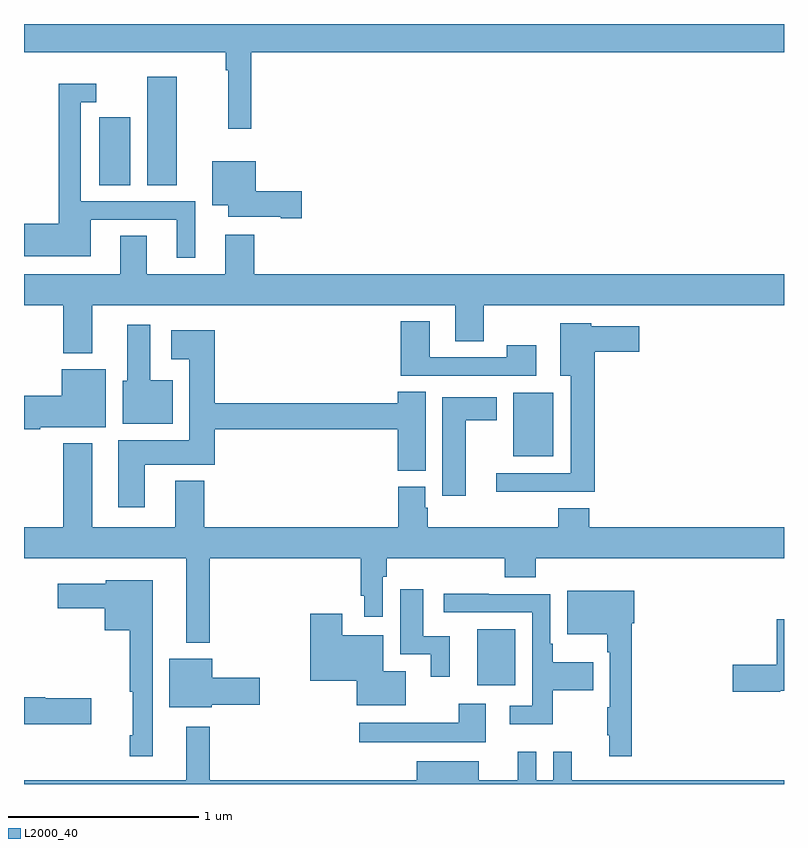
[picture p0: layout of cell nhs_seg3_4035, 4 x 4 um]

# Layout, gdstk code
import gdstk
lib = gdstk.Library(unit=1e-6, precision=1e-09)
def R(c, l, rs):  # rectangles x0, y0, x1, y1
    for r in rs: c.add(gdstk.rectangle(r[:2], r[2:], *l))
def P(c, l, *ps):  # polygons
    for p in ps: c.add(gdstk.Polygon(p, *l))
L2000_40 = (2000, 40)

nhs_seg3_4035 = lib.new_cell('nhs_seg3_4035')
R(nhs_seg3_4035, L2000_40, [(325.385,694.919,325.585,695.215), (325.574,696.125,325.786,696.46), (323.396,697.552,323.56,697.909), (323.648,697.552,323.803,698.122)])
P(nhs_seg3_4035, L2000_40, [(324.197,698.252),(327,698.252),(327,698.4),(323,698.4),(323,698.252),(324.061,698.252),(324.061,698.156),(324.076,698.156),(324.076,697.848),(324.197,697.848)],
  [(323.902,697.467),(323.298,697.467),(323.298,697.989),(323.38,697.989),(323.38,698.086),(323.182,698.086),(323.182,697.349),(323,697.349),(323,697.178),(323.35,697.178),(323.35,697.371),(323.804,697.371),(323.804,697.17),(323.902,697.17)],
  [(324.463,697.52),(324.22,697.52),(324.22,697.678),(323.99,697.678),(323.99,697.445),(324.074,697.445),(324.074,697.385),(324.35,697.385),(324.35,697.378),(324.463,697.378)],
  [(323.359,696.92),(325.271,696.92),(325.271,696.73),(325.419,696.73),(325.419,696.92),(327,696.92),(327,697.084),(324.212,697.084),(324.212,697.291),(324.059,697.291),(324.059,697.084),(323.647,697.084),(323.647,697.286),(323.507,697.286),(323.507,697.084),(323,697.084),(323,696.92),(323.207,696.92),(323.207,696.668),(323.359,696.668)],
  [(325.696,696.709),(325.54,696.709),(325.54,696.645),(325.135,696.645),(325.135,696.835),(324.983,696.835),(324.983,696.549),(325.696,696.549)],
  [(326.003,696.674),(326.239,696.674),(326.239,696.808),(325.986,696.808),(325.986,696.826),(325.823,696.826),(325.823,696.548),(325.877,696.548),(325.877,696.036),(325.485,696.036),(325.485,695.939),(326.003,695.939)],
  [(323.782,696.526),(323.665,696.526),(323.665,696.817),(323.543,696.817),(323.543,696.522),(323.519,696.522),(323.519,696.296),(323.782,696.296)],
  [(323.635,696.08),(324.005,696.08),(324.005,696.268),(324.968,696.268),(324.968,696.049),(325.114,696.049),(325.114,696.464),(324.968,696.464),(324.968,696.404),(324.005,696.404),(324.005,696.787),(323.775,696.787),(323.775,696.635),(323.87,696.635),(323.87,696.208),(323.495,696.208),(323.495,695.856),(323.635,695.856)],
  [(323.086,696.278),(323.431,696.278),(323.431,696.583),(323.198,696.583),(323.198,696.444),(323,696.444),(323,696.266),(323.086,696.266)],
  [(325.324,696.314),(325.489,696.314),(325.489,696.436),(325.202,696.436),(325.202,695.916),(325.324,695.916)],
  [(323.948,695.995),(323.795,695.995),(323.795,695.752),(323.359,695.752),(323.359,696.193),(323.207,696.193),(323.207,695.752),(323,695.752),(323,695.588),(323.855,695.588),(323.855,695.144),(323.977,695.144),(323.977,695.588),(324.772,695.588),(324.772,695.392),(324.792,695.392),(324.792,695.28),(324.888,695.28),(324.888,695.492),(324.908,695.492),(324.908,695.588),(325.529,695.588),(325.529,695.489),(325.694,695.489),(325.694,695.588),(327,695.588),(327,695.752),(325.976,695.752),(325.976,695.851),(325.811,695.851),(325.811,695.752),(325.124,695.752),(325.124,695.853),(325.111,695.853),(325.111,695.964),(324.971,695.964),(324.971,695.752),(323.948,695.752)],
  [(323.677,695.473),(323.43,695.473),(323.43,695.455),(323.178,695.455),(323.178,695.326),(323.426,695.326),(323.426,695.21),(323.556,695.21),(323.556,694.886),(323.573,694.886),(323.573,694.657),(323.556,694.657),(323.556,694.545),(323.677,694.545)],
  [(325.24,695.178),(325.102,695.178),(325.102,695.425),(324.98,695.425),(324.98,695.082),(325.142,695.082),(325.142,694.965),(325.24,694.965)],
  [(326.198,695.246),(326.212,695.246),(326.212,695.416),(325.859,695.416),(325.859,695.189),(326.07,695.189),(326.07,695.093),(326.082,695.093),(326.082,694.805),(326.07,694.805),(326.07,694.657),(326.081,694.657),(326.081,694.545),(326.198,694.545)],
  [(325.783,694.894),(325.997,694.894),(325.997,695.041),(325.783,695.041),(325.783,695.137),(325.77,695.137),(325.77,695.4),(325.445,695.4),(325.445,695.402),(325.209,695.402),(325.209,695.304),(325.674,695.304),(325.674,694.812),(325.557,694.812),(325.557,694.715),(325.783,694.715)],
  [(325.009,694.993),(324.892,694.993),(324.892,695.182),(324.676,695.182),(324.676,695.296),(324.506,695.296),(324.506,694.943),(324.752,694.943),(324.752,694.814),(325.009,694.814)],
  [(326.979,694.892),(327,694.892),(327,695.266),(326.963,695.266),(326.963,695.027),(326.73,695.027),(326.73,694.885),(326.979,694.885)],
  [(323.988,694.816),(324.241,694.816),(324.241,694.958),(323.992,694.958),(323.992,695.059),(323.765,695.059),(323.765,694.805),(323.988,694.805)],
  [(323.353,694.851),(323.111,694.851),(323.111,694.856),(323,694.856),(323,694.714),(323.353,694.714)],
  [(325.429,694.822),(325.289,694.822),(325.289,694.723),(324.765,694.723),(324.765,694.619),(325.429,694.619)],
  [(327,694.42),(325.883,694.42),(325.883,694.57),(325.785,694.57),(325.785,694.42),(325.695,694.42),(325.695,694.57),(325.598,694.57),(325.598,694.42),(325.393,694.42),(325.393,694.519),(325.067,694.519),(325.067,694.42),(323.977,694.42),(323.977,694.702),(323.855,694.702),(323.855,694.42),(323,694.42),(323,694.4),(327,694.4)])

lib.write_gds('nhs_seg3_4035.gds')
